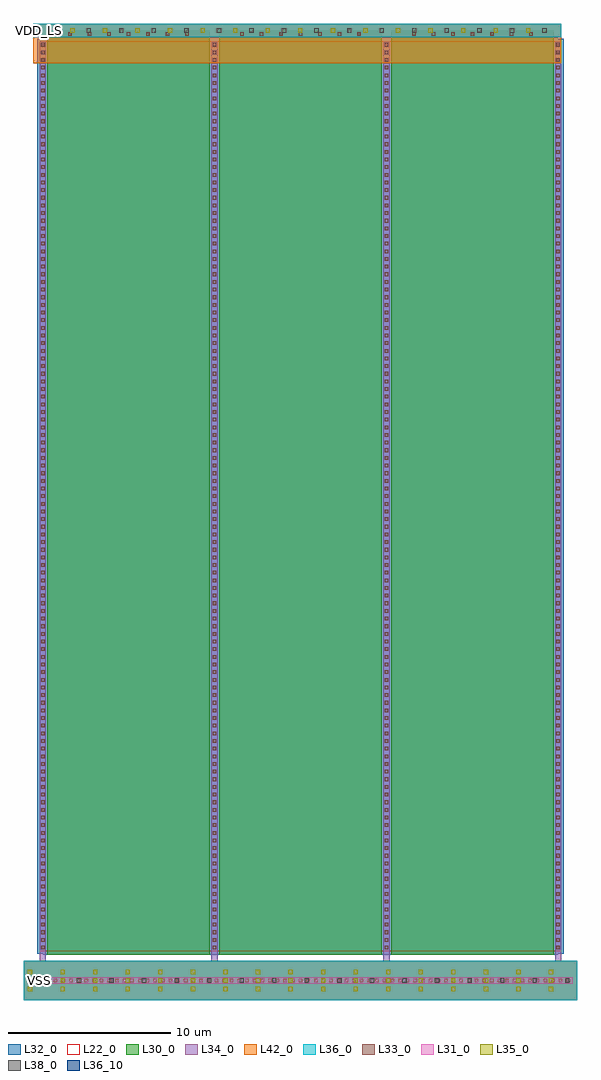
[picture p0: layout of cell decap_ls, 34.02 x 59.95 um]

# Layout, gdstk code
import gdstk
lib = gdstk.Library(unit=1e-6, precision=1e-09)
def R(c, l, rs):  # rectangles x0, y0, x1, y1
    for r in rs: c.add(gdstk.rectangle(r[:2], r[2:], *l))
def A(c, l, x, y, w, h, nx, ny, dx, dy):  # array of equal rectangles
    R(c, l, [(x+i*dx, y+j*dy, x+i*dx+w, y+j*dy+h) for i in range(nx) for j in range(ny)])
L22_0 = (22, 0)
L30_0 = (30, 0)
L31_0 = (31, 0)
L32_0 = (32, 0)
L33_0 = (33, 0)
L34_0 = (34, 0)
L35_0 = (35, 0)
L36_0 = (36, 0)
L36_10 = (36, 10)
L38_0 = (38, 0)
L42_0 = (42, 0)

decap_ls = lib.new_cell('decap_ls')
R(decap_ls, L22_0, [(0.3,-1.39,33.72,-1.01), (1,0.6,33.02,56.5)])
A(decap_ls, L30_0, 1.45, 0.37, 10, 56.76, 3, 1, 10.56, 0)
R(decap_ls, L31_0, [(0.28,-1.41,33.74,-0.99)])
R(decap_ls, L32_0, [(1.22,0.37,32.8,0.44), (0.84,0.44,33.18,56.66), (1.22,56.66,32.8,56.73)])
A(decap_ls, L33_0, 0.45, -1.31, 0.22, 0.22, 71, 1, 0.47, 0)
A(decap_ls, L33_0, 1.075, 0.71, 0.22, 0.22, 1, 119, 0, 0.47)
A(decap_ls, L33_0, 11.62, 0.71, 0.22, 0.22, 1, 119, 0, 0.47)
A(decap_ls, L33_0, 22.18, 0.71, 0.22, 0.22, 1, 119, 0, 0.47)
A(decap_ls, L33_0, 32.725, 0.71, 0.22, 0.22, 1, 119, 0, 0.47)
A(decap_ls, L33_0, 2.74, 56.835, 0.22, 0.22, 7, 1, 1.2, 0)
A(decap_ls, L33_0, 13.3, 56.835, 0.22, 0.22, 7, 1, 1.2, 0)
A(decap_ls, L33_0, 23.86, 56.835, 0.22, 0.22, 7, 1, 1.2, 0)
R(decap_ls, L34_0, [(0,-2.4,34.02,0), (0.995,0,1.375,56.505), (11.54,0,11.92,56.505), (22.1,0,22.48,56.505), (32.645,0,33.025,56.505), (0.6,56.755,33.02,57.555)])
A(decap_ls, L35_0, 0.27, -1.85, 0.26, 0.26, 17, 3, 2, 0.52)
A(decap_ls, L35_0, 0.87, 57.025, 0.26, 0.26, 16, 1, 2, 0)
R(decap_ls, L36_0, [(0,-2.4,34.02,0), (0.6,56.755,33.02,57.555)])
R(decap_ls, L36_10, [(0.95,-1.25,1.05,-1.15), (0.95,57.105,1.05,57.205)])
A(decap_ls, L38_0, 1.27, -1.33, 0.26, 0.26, 17, 1, 2, 0)
A(decap_ls, L38_0, 1.87, 57.025, 0.26, 0.26, 16, 1, 2, 0)
R(decap_ls, L42_0, [(0,-2.4,34.02,0), (0.6,55.155,33.02,57.555)])
decap_ls.add(gdstk.Label('VSS', (1,-1.2), layer=36, texttype=10))
decap_ls.add(gdstk.Label('VDD_LS', (1,57.155), layer=36, texttype=10))

lib.write_gds('decap_ls.gds')
